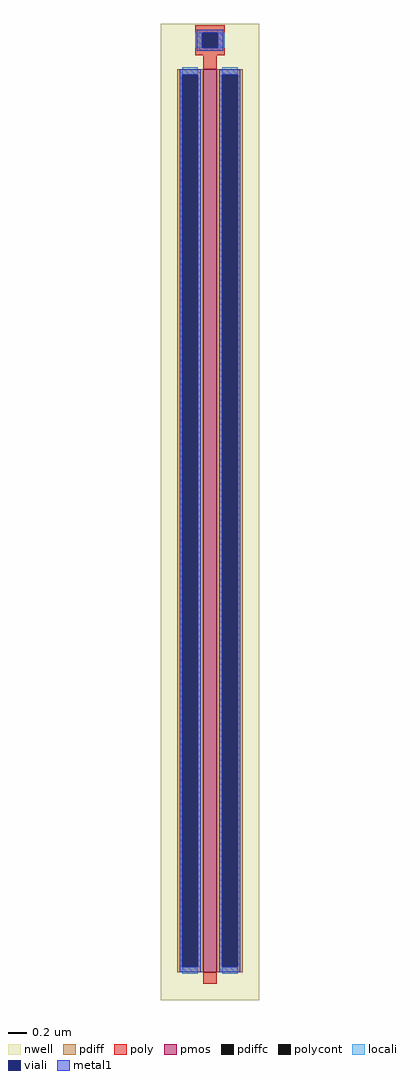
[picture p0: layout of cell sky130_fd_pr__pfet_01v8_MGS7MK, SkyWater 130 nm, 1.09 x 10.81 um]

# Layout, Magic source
magic
tech sky130A
magscale 1 2
<< nwell >>
rect -109 -1098 109 1064
<< pmos >>
rect -15 -1036 15 964
<< pdiff >>
rect -73 952 -15 964
rect -73 -1024 -61 952
rect -27 -1024 -15 952
rect -73 -1036 -15 -1024
rect 15 952 73 964
rect 15 -1024 27 952
rect 61 -1024 73 952
rect 15 -1036 73 -1024
<< pdiffc >>
rect -61 -1024 -27 952
rect 27 -1024 61 952
<< poly >>
rect -33 1045 33 1061
rect -33 1011 -17 1045
rect 17 1011 33 1045
rect -33 995 33 1011
rect -15 964 15 995
rect -15 -1062 15 -1036
<< polycont >>
rect -17 1011 17 1045
<< locali >>
rect -33 1011 -17 1045
rect 17 1011 33 1045
rect -61 952 -27 968
rect -61 -1040 -27 -1024
rect 27 952 61 968
rect 27 -1040 61 -1024
<< viali >>
rect -17 1011 17 1045
rect -61 -1024 -27 952
rect 27 -1024 61 952
<< metal1 >>
rect -29 1045 29 1051
rect -29 1011 -17 1045
rect 17 1011 29 1045
rect -29 1005 29 1011
rect -67 952 -21 964
rect -67 -1024 -61 952
rect -27 -1024 -21 952
rect -67 -1036 -21 -1024
rect 21 952 67 964
rect 21 -1024 27 952
rect 61 -1024 67 952
rect 21 -1036 67 -1024
<< properties >>
string gencell sky130_fd_pr__pfet_01v8
string library sky130
string parameters w 10.0 l 0.15 m 1 nf 1 diffcov 100 polycov 100 guard 0 glc 1 grc 1 gtc 1 gbc 1 tbcov 100 rlcov 100 topc 1 botc 0 poverlap 0 doverlap 1 lmin 0.15 wmin 0.42 compatible {sky130_fd_pr__pfet_01v8  sky130_fd_pr__pfet_01v8_lvt sky130_fd_pr__pfet_01v8_hvt  sky130_fd_pr__pfet_g5v0d10v5} full_metal 1 viasrc 100 viadrn 100 viagate 100 viagb 0 viagr 0 viagl 0 viagt 0
<< end >>
